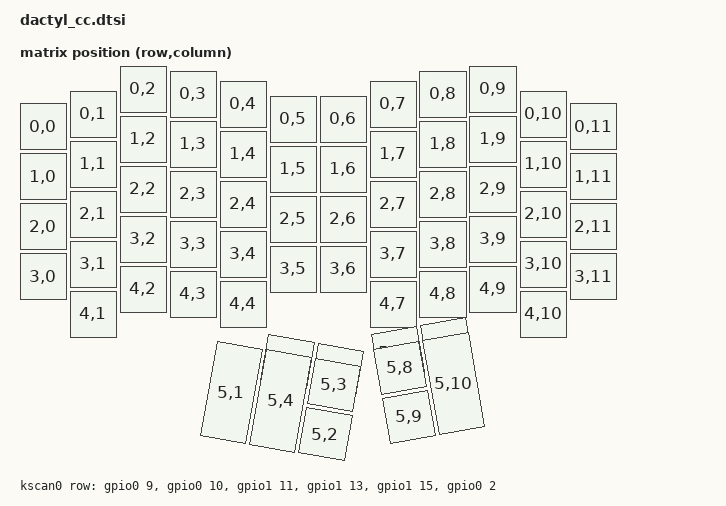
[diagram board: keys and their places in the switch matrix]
#include <dt-bindings/zmk/matrix_transform.h>
#include <physical_layouts.dtsi>

/ {
    chosen {
        zmk,kscan = &kscan0;
        //zmk,matrix_transform = &default_transform;
        zmk,physical-layout = &physical_layout0;
    };

    default_transform: keymap_transform_0 {
        compatible = "zmk,matrix-transform";
        columns = <12>;
        rows = <6>;
// | MX1  | MX2  | MX3  | MX4  | MX5  | MX6  |                 | MX7  | MX8  | MX9  | MX10 | MX11 | MX12 |
// | MX13 | MX14 | MX15 | MX16 | MX17 | MX18 |                 | MX19 | MX20 | MX21 | MX22 | MX23 | MX24 |
// | MX25 | MX26 | MX27 | MX28 | MX29 | MX30 |                 | MX31 | MX32 | MX33 | MX34 | MX35 | MX36 |
// | MX37 | MX38 | MX39 | MX40 | MX41 | MX42 |                 | MX43 | MX44 | MX45 | MX46 | MX47 | MX48 |
//        | MX49 | MX50 | MX51 | MX52 |                               | MX53 | MX54 | MX55 | MX56 |
//                                    | MX57 | MX58 |   | MX59 | MX60 |
//                                           | MX61 |   | MX62 |
//                             | MX63 | MX64 | MX65 |   | MX66 | MX67 | MX68 |
        map = <
RC(0,0) RC(0,1) RC(0,2) RC(0,3) RC(0,4) RC(0,5)                   RC(0,11) RC(0,10) RC(0,9) RC(0,8) RC(0,7) RC(0,6)
RC(1,0) RC(1,1) RC(1,2) RC(1,3) RC(1,4) RC(1,5)                   RC(1,11) RC(1,10) RC(1,9) RC(1,8) RC(1,7) RC(1,6)
RC(2,0) RC(2,1) RC(2,2) RC(2,3) RC(2,4) RC(2,5)                   RC(2,11) RC(2,10) RC(2,9) RC(2,8) RC(2,7) RC(2,6)
RC(3,0) RC(3,1) RC(3,2) RC(3,3) RC(3,4) RC(3,5)                   RC(3,11) RC(3,10) RC(3,9) RC(3,8) RC(3,7) RC(3,6)
        RC(4,1) RC(4,2) RC(4,3) RC(4,4)                                    RC(4,10) RC(4,9) RC(4,8) RC(4,7)
                                        RC(4,5) RC(5,5)  RC(5,11) RC(4,11)
                                                RC(5,1)  RC(5,7)
                                RC(5,4) RC(5,3) RC(5,2)  RC(5,8)  RC(5,9) RC(5,10)
        >;
    };

    kscan0: kscan {
        compatible = "zmk,kscan-gpio-matrix";
        label = "KSCAN";

        diode-direction = "col2row";
        row-gpios
            = <&gpio0 9  (GPIO_ACTIVE_HIGH | GPIO_PULL_DOWN)> // Row 0 from the schematic file
            , <&gpio0 10 (GPIO_ACTIVE_HIGH | GPIO_PULL_DOWN)> // Row 1 from the schematic file
            , <&gpio1 11 (GPIO_ACTIVE_HIGH | GPIO_PULL_DOWN)> // Row 2 from the schematic file
            , <&gpio1 13 (GPIO_ACTIVE_HIGH | GPIO_PULL_DOWN)> // Row 3 from the schematic file
            , <&gpio1 15 (GPIO_ACTIVE_HIGH | GPIO_PULL_DOWN)> // Row 4 from the schematic file
            , <&gpio0 2  (GPIO_ACTIVE_HIGH | GPIO_PULL_DOWN)> // Row 5 from the schematic file
            ;

    };

    physical_layout0: physical_layout_0 {
        compatible = "zmk,physical-layout";
        display-name = "Default Layout";
        transform = <&default_transform>;
        kscan = <&kscan0>;

        // Coordinate system:
        // - centiunits (100 = 1 key width)
        // - Column stagger (y offsets, relative to C2 which is highest):
        //     C0/C11 (pinky outer) : +75
        //     C1/C10 (pinky)       : +50
        //     C2/C9  (ring)        :  +0  ← highest
        //     C3/C8  (middle)      : +10
        //     C4/C7  (index)       : +30
        //     C5/C6  (index inner) : +60
        // - Thumb clusters offset below main block, rotated ±1000 centidegrees (10°)
        //   Left cluster:  rot=+1000 (CW),  pivot top-left of cluster
        //   Right cluster: rot=-1000 (CCW), pivot top-right of cluster
        //
        // Left thumb shape:       Right thumb shape:
        //     [N][N]                   [N][N]
        //   [L][L][N]               [N][L][L]
        //   [L][L][N]               [N][L][L]

        keys  //                     w    h      x     y    rot    rx    ry

            // ── ROW 0 ───────────────────────────────────────────────────
            // Left  RC(0,0)–RC(0,5)
            = <&key_physical_attrs 100  100      0    75      0     0     0>  // RC(0,0)  C0
            , <&key_physical_attrs 100  100    100    50      0     0     0>  // RC(0,1)  C1
            , <&key_physical_attrs 100  100    200     0      0     0     0>  // RC(0,2)  C2 highest
            , <&key_physical_attrs 100  100    300    10      0     0     0>  // RC(0,3)  C3
            , <&key_physical_attrs 100  100    400    30      0     0     0>  // RC(0,4)  C4
            , <&key_physical_attrs 100  100    500    60      0     0     0>  // RC(0,5)  C5
            // Right RC(0,11)–RC(0,6) — mirrored stagger
            , <&key_physical_attrs 100  100   1100    75      0     0     0>  // RC(0,11) C11
            , <&key_physical_attrs 100  100   1000    50      0     0     0>  // RC(0,10) C10
            , <&key_physical_attrs 100  100    900     0      0     0     0>  // RC(0,9)  C9
            , <&key_physical_attrs 100  100    800    10      0     0     0>  // RC(0,8)  C8
            , <&key_physical_attrs 100  100    700    30      0     0     0>  // RC(0,7)  C7
            , <&key_physical_attrs 100  100    600    60      0     0     0>  // RC(0,6)  C6

            // ── ROW 1 ───────────────────────────────────────────────────
            // Left  RC(1,0)–RC(1,5)
            , <&key_physical_attrs 100  100      0   175      0     0     0>  // RC(1,0)
            , <&key_physical_attrs 100  100    100   150      0     0     0>  // RC(1,1)
            , <&key_physical_attrs 100  100    200   100      0     0     0>  // RC(1,2)
            , <&key_physical_attrs 100  100    300   110      0     0     0>  // RC(1,3)
            , <&key_physical_attrs 100  100    400   130      0     0     0>  // RC(1,4)
            , <&key_physical_attrs 100  100    500   160      0     0     0>  // RC(1,5)
            // Right RC(1,11)–RC(1,6)
            , <&key_physical_attrs 100  100   1100   175      0     0     0>  // RC(1,11)
            , <&key_physical_attrs 100  100   1000   150      0     0     0>  // RC(1,10)
            , <&key_physical_attrs 100  100    900   100      0     0     0>  // RC(1,9)
            , <&key_physical_attrs 100  100    800   110      0     0     0>  // RC(1,8)
            , <&key_physical_attrs 100  100    700   130      0     0     0>  // RC(1,7)
            , <&key_physical_attrs 100  100    600   160      0     0     0>  // RC(1,6)

            // ── ROW 2 (home row) ────────────────────────────────────────
            // Left  RC(2,0)–RC(2,5)
            , <&key_physical_attrs 100  100      0   275      0     0     0>  // RC(2,0)
            , <&key_physical_attrs 100  100    100   250      0     0     0>  // RC(2,1)
            , <&key_physical_attrs 100  100    200   200      0     0     0>  // RC(2,2)
            , <&key_physical_attrs 100  100    300   210      0     0     0>  // RC(2,3)
            , <&key_physical_attrs 100  100    400   230      0     0     0>  // RC(2,4)
            , <&key_physical_attrs 100  100    500   260      0     0     0>  // RC(2,5)
            // Right RC(2,11)–RC(2,6)
            , <&key_physical_attrs 100  100   1100   275      0     0     0>  // RC(2,11)
            , <&key_physical_attrs 100  100   1000   250      0     0     0>  // RC(2,10)
            , <&key_physical_attrs 100  100    900   200      0     0     0>  // RC(2,9)
            , <&key_physical_attrs 100  100    800   210      0     0     0>  // RC(2,8)
            , <&key_physical_attrs 100  100    700   230      0     0     0>  // RC(2,7)
            , <&key_physical_attrs 100  100    600   260      0     0     0>  // RC(2,6)

            // ── ROW 3 ───────────────────────────────────────────────────
            // Left  RC(3,0)–RC(3,5)
            , <&key_physical_attrs 100  100      0   375      0     0     0>  // RC(3,0)
            , <&key_physical_attrs 100  100    100   350      0     0     0>  // RC(3,1)
            , <&key_physical_attrs 100  100    200   300      0     0     0>  // RC(3,2)
            , <&key_physical_attrs 100  100    300   310      0     0     0>  // RC(3,3)
            , <&key_physical_attrs 100  100    400   330      0     0     0>  // RC(3,4)
            , <&key_physical_attrs 100  100    500   360      0     0     0>  // RC(3,5)
            // Right RC(3,11)–RC(3,6)
            , <&key_physical_attrs 100  100   1100   375      0     0     0>  // RC(3,11)
            , <&key_physical_attrs 100  100   1000   350      0     0     0>  // RC(3,10)
            , <&key_physical_attrs 100  100    900   300      0     0     0>  // RC(3,9)
            , <&key_physical_attrs 100  100    800   310      0     0     0>  // RC(3,8)
            , <&key_physical_attrs 100  100    700   330      0     0     0>  // RC(3,7)
            , <&key_physical_attrs 100  100    600   360      0     0     0>  // RC(3,6)

            // ── ROW 4 ───────────────────────────────────────────────────
            // Left  RC(4,1)–RC(4,4) — no C0 or C5
            , <&key_physical_attrs 100  100    100   450      0     0     0>  // RC(4,1)
            , <&key_physical_attrs 100  100    200   400      0     0     0>  // RC(4,2)
            , <&key_physical_attrs 100  100    300   410      0     0     0>  // RC(4,3)
            , <&key_physical_attrs 100  100    400   430      0     0     0>  // RC(4,4)
            // Right RC(4,10)–RC(4,7) — no C11 or C6
            , <&key_physical_attrs 100  100   1000   450      0     0     0>  // RC(4,10)
            , <&key_physical_attrs 100  100    900   400      0     0     0>  // RC(4,9)
            , <&key_physical_attrs 100  100    800   410      0     0     0>  // RC(4,8)
            , <&key_physical_attrs 100  100    700   430      0     0     0>  // RC(4,7)

            // ── ROW 5 — THUMB CLUSTERS ──────────────────────────────────
            //
            // Transform order for row 5:
            //   RC(4,5)  RC(5,5)   RC(5,11) RC(4,11)    ← top row
            //            RC(5,1)   RC(5,7)              ← mid
            //   RC(5,4)  RC(5,3)   RC(5,2)  RC(5,8)  RC(5,9)  RC(5,10)  ← bottom
            //
            // Left cluster layout (rot=+1000, pivot=500,520):
            //       [RC(4,5)][RC(5,5)]       top — 2 normal, right-aligned
            //   [RC(5,1)][RC(5,4)][RC(5,3)]  mid — 2u | 2u | normal
            //   [RC(5,1)][RC(5,4)][RC(5,2)]  bot — tall keys continue | normal
            //
            // Right cluster layout (rot=-1000, pivot=800,520):
            //   [RC(5,11)][RC(4,11)]          top — 2 normal, left-aligned
            //   [RC(5,9)] [RC(5,7)][RC(5,8)]  mid — normal | 2u | 2u
            //   [RC(5,10)][RC(5,7)][RC(5,8)]  bot — normal | tall continues
            //
            // Left thumb — top row (2 normal, right-aligned over col1+col2)
            , <&key_physical_attrs 100  100    500   520   1000   400   520>  // RC(4,5)  top-left normal
            , <&key_physical_attrs 100  100    600   520   1000   400   520>  // RC(5,5)  top-right normal
            // Right thumb — top row (2 normal, left-aligned over col0+col1)
            , <&key_physical_attrs 100  100    700   520  (-1000)  800   520>  // RC(5,11) top-left normal
            , <&key_physical_attrs 100  100    800   520  (-1000)  800   520>  // RC(4,11) top-right normal
            // Left thumb — RC(5,1) mid (will become 2u tall key)
            , <&key_physical_attrs 100  200    400   550   1000   400   520>  // RC(5,1)  2u tall col0
            // Right thumb — RC(5,7) mid
            , <&key_physical_attrs 100  200    800   550  (-1000)  800   520>  // RC(5,7)  2u tall col1
            // Left thumb — bottom row
            , <&key_physical_attrs 100  200    500   550   1000   400   520>  // RC(5,4)  2u tall col1
            , <&key_physical_attrs 100  100    600   550   1000   400   520>  // RC(5,3)  normal col2 top
            , <&key_physical_attrs 100  100    600   650   1000   400   520>  // RC(5,2)  normal col2 bot
            // Right thumb — bottom row
            , <&key_physical_attrs 100  100    700   550  (-1000)  800   520>  // RC(5,9)  normal col0 top
            , <&key_physical_attrs 100  100    700   650  (-1000)  800   520>  // RC(5,10) normal col0 bot
            , <&key_physical_attrs 100  200    800   550  (-1000)  800   520>  // RC(5,8)  2u tall col2
            ;
    };

    //physical_layout0: physical_layout_0 {
    //    compatible = "zmk,physical-layout";
    //    display-name = "Dactyl CC Layout";
    //    transform = <&default_transform>;
    //    kscan = <&kscan0>;

    //    // Units: 100 = 1 key width
    //    // Column stagger offsets applied
    //    // Split gap ≈ 300
    //    // Thumb clusters rotated ±12°

    //    keys  //                     w    h      x     y    rot    rx    ry

    //        // ───────── ROW 0 ─────────
    //        = <&key_physical_attrs 100 100    0    75   0 0 0>
    //        , <&key_physical_attrs 100 100  100    50   0 0 0>
    //        , <&key_physical_attrs 100 100  200     0   0 0 0>
    //        , <&key_physical_attrs 100 100  300    10   0 0 0>
    //        , <&key_physical_attrs 100 100  400    30   0 0 0>
    //        , <&key_physical_attrs 100 100  500    60   0 0 0>

    //        , <&key_physical_attrs 100 100  900    75   0 0 0>
    //        , <&key_physical_attrs 100 100  800    50   0 0 0>
    //        , <&key_physical_attrs 100 100  700     0   0 0 0>
    //        , <&key_physical_attrs 100 100  600    10   0 0 0>
    //        , <&key_physical_attrs 100 100  500    30   0 0 0>
    //        , <&key_physical_attrs 100 100  400    60   0 0 0>

    //        // ───────── ROW 1 ─────────
    //        , <&key_physical_attrs 100 100    0   175   0 0 0>
    //        , <&key_physical_attrs 100 100  100   150   0 0 0>
    //        , <&key_physical_attrs 100 100  200   100   0 0 0>
    //        , <&key_physical_attrs 100 100  300   110   0 0 0>
    //        , <&key_physical_attrs 100 100  400   130   0 0 0>
    //        , <&key_physical_attrs 100 100  500   160   0 0 0>

    //        , <&key_physical_attrs 100 100  900   175   0 0 0>
    //        , <&key_physical_attrs 100 100  800   150   0 0 0>
    //        , <&key_physical_attrs 100 100  700   100   0 0 0>
    //        , <&key_physical_attrs 100 100  600   110   0 0 0>
    //        , <&key_physical_attrs 100 100  500   130   0 0 0>
    //        , <&key_physical_attrs 100 100  400   160   0 0 0>

    //        // ───────── ROW 2 ─────────
    //        , <&key_physical_attrs 100 100    0   275   0 0 0>
    //        , <&key_physical_attrs 100 100  100   250   0 0 0>
    //        , <&key_physical_attrs 100 100  200   200   0 0 0>
    //        , <&key_physical_attrs 100 100  300   210   0 0 0>
    //        , <&key_physical_attrs 100 100  400   230   0 0 0>
    //        , <&key_physical_attrs 100 100  500   260   0 0 0>

    //        , <&key_physical_attrs 100 100  900   275   0 0 0>
    //        , <&key_physical_attrs 100 100  800   250   0 0 0>
    //        , <&key_physical_attrs 100 100  700   200   0 0 0>
    //        , <&key_physical_attrs 100 100  600   210   0 0 0>
    //        , <&key_physical_attrs 100 100  500   230   0 0 0>
    //        , <&key_physical_attrs 100 100  400   260   0 0 0>

    //        // ───────── ROW 3 ─────────
    //        , <&key_physical_attrs 100 100    0   375   0 0 0>
    //        , <&key_physical_attrs 100 100  100   350   0 0 0>
    //        , <&key_physical_attrs 100 100  200   300   0 0 0>
    //        , <&key_physical_attrs 100 100  300   310   0 0 0>
    //        , <&key_physical_attrs 100 100  400   330   0 0 0>
    //        , <&key_physical_attrs 100 100  500   360   0 0 0>

    //        , <&key_physical_attrs 100 100  900   375   0 0 0>
    //        , <&key_physical_attrs 100 100  800   350   0 0 0>
    //        , <&key_physical_attrs 100 100  700   300   0 0 0>
    //        , <&key_physical_attrs 100 100  600   310   0 0 0>
    //        , <&key_physical_attrs 100 100  500   330   0 0 0>
    //        , <&key_physical_attrs 100 100  400   360   0 0 0>

    //        // ───────── ROW 4 (inner 4 keys per side) ─────────
    //        , <&key_physical_attrs 100 100  100   450   0 0 0>
    //        , <&key_physical_attrs 100 100  200   400   0 0 0>
    //        , <&key_physical_attrs 100 100  300   410   0 0 0>
    //        , <&key_physical_attrs 100 100  400   430   0 0 0>

    //        , <&key_physical_attrs 100 100  800   450   0 0 0>
    //        , <&key_physical_attrs 100 100  700   400   0 0 0>
    //        , <&key_physical_attrs 100 100  600   410   0 0 0>
    //        , <&key_physical_attrs 100 100  500   430   0 0 0>

    //        // ───────── THUMB CLUSTERS ─────────
    //        // Left pivot (350,520) | Right pivot (850,520)

    //        , <&key_physical_attrs 100 100  520 500 1200 350 520>
    //        , <&key_physical_attrs 100 100  470 580 1200 350 520>
    //        , <&key_physical_attrs 100 100  880 580 (-1200) 850 520>
    //        , <&key_physical_attrs 100 100  830 500 (-1200) 850 520>

    //        , <&key_physical_attrs 100 100  420 660 1200 350 520>
    //        , <&key_physical_attrs 100 100  930 660 (-1200) 850 520>

    //        , <&key_physical_attrs 100 100  570 520 1200 350 520>
    //        , <&key_physical_attrs 100 100  520 600 1200 350 520>
    //        , <&key_physical_attrs 100 100  470 680 1200 350 520>

    //        , <&key_physical_attrs 100 100  880 680 (-1200) 850 520>
    //        , <&key_physical_attrs 100 100  930 600 (-1200) 850 520>
    //        , <&key_physical_attrs 100 100  980 520 (-1200) 850 520>
    //        ;
    //};
};
